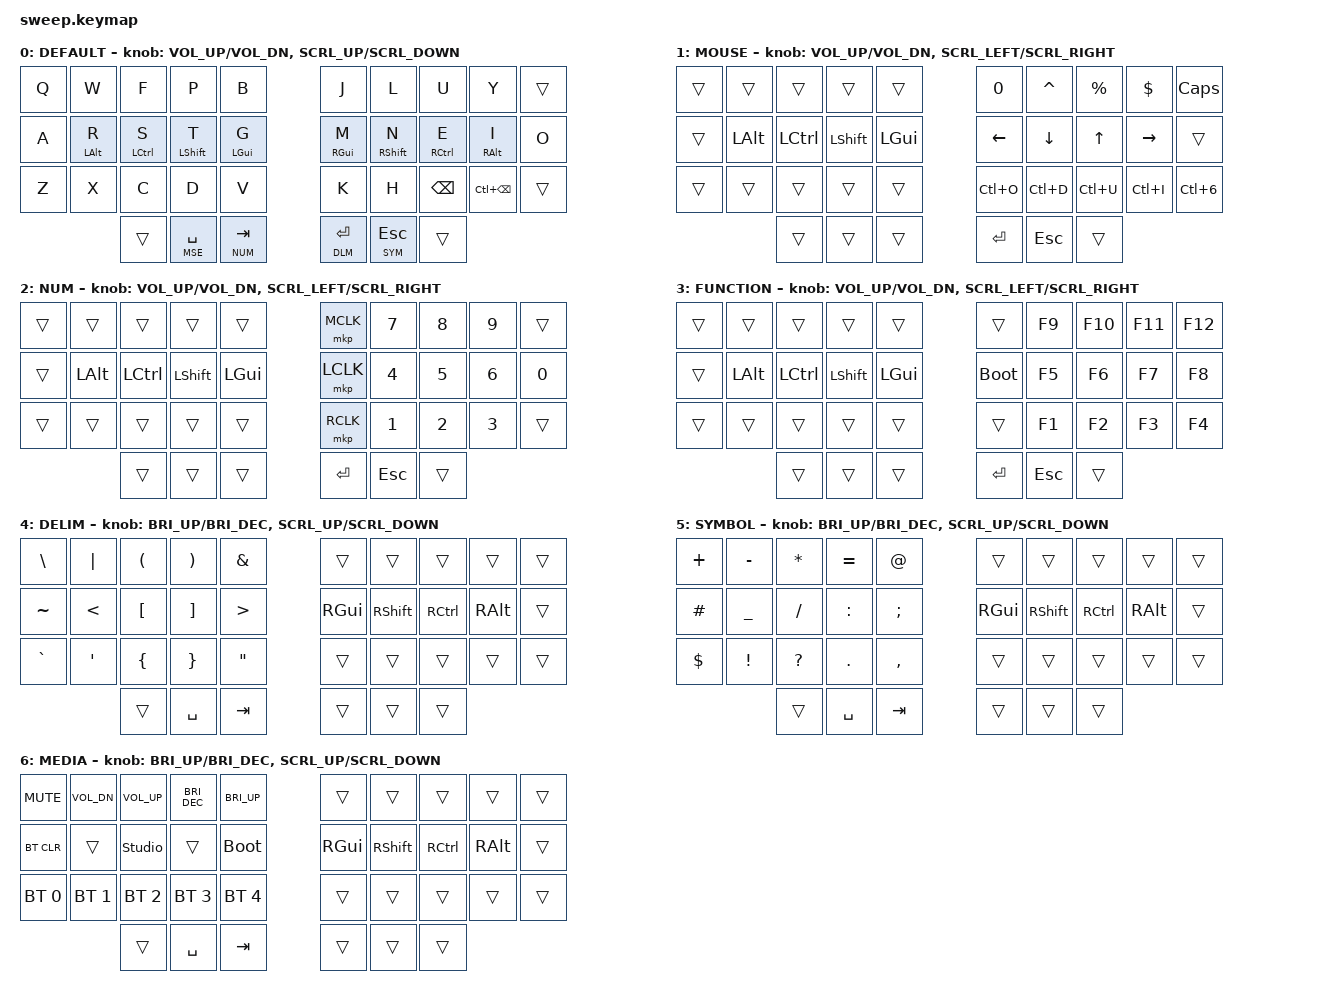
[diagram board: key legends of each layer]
// Copyright (c) 2022 The ZMK Contributors
// SPDX-License-Identifier: MIT
// #include <dt-bindings/zmk/rgb.h>

#define ZMK_POINTING_DEFAULT_MOVE_VAL 2500// 600
#define ZMK_POINTING_DEFAULT_SCRL_VAL 20// 10

#include <behaviors.dtsi>
#include <dt-bindings/zmk/bt.h>
#include <dt-bindings/zmk/keys.h>
#include <dt-bindings/zmk/outputs.h>
#include <dt-bindings/zmk/pointing.h>


#define DEF 0
#define MSE 1
#define NUM 2
#define FUN 3
#define DLM 4
#define SYM 5
#define MED 6

&lt {
  flavor = "hold-preferred";
  tapping-term-ms = <150>;
  quick-tap-ms = <100>;
  require-prior-idle-ms = <0>;
  global-quick-tap;
};

/ {
    behaviors {
        ht: hold_tap {
            label = "hold_tap";
            compatible = "zmk,behavior-hold-tap";
            #binding-cells = <2>;
            flavor = "balanced";
            tapping-term-ms = <150>;
            quick-tap-ms = <150>;
            require-prior-idle-ms = <0>;
            global-quick-tap;
            bindings = <&kp>, <&kp>;
        };
        mmv {
            acceleration-exponent = <1>;// 1
            time-to-max-speed-ms = <300>;// 40
            delay-ms = <0>;// 0
        };
        msc {
            acceleration-exponent = <0>;// 0
            time-to-max-speed-ms = <40>;// 500
            delay-ms = <0>;// 10
        };
    };

    conditional_layers {
        compatible = "zmk,conditional-layers";

        function_layer {
            if-layers = <MSE NUM>;
            then-layer = <FUN>;
        };

        media_layer {
            if-layers = <DLM SYM>;
            then-layer = <MED>;
        };
    };

    keymap {
        compatible = "zmk,keymap";

        default_layer {
            display-name = "DEFAULT";
            bindings = <
            &kp Q   &kp W          &kp F        &kp P         &kp B             &kp J          &kp L         &kp U        &kp Y            &trans
            &kp A   &ht LALT R     &ht LCTRL S  &ht LSHIFT T  &ht LGUI G        &ht RGUI M     &ht RSHIFT N  &ht RCTRL E  &ht RALT I       &kp O
            &kp Z   &kp X          &kp C        &kp D         &kp V             &kp K          &kp H         &kp BSPC     &kp LC(BSPC)     &trans
            &trans  &lt MSE SPACE  &lt NUM TAB                                  &lt DLM ENTER  &lt SYM ESC   &trans
            >;

            sensor-bindings = <&inc_dec_kp C_VOL_UP C_VOL_DN  &inc_dec_kp SCRL_UP SCRL_DOWN>;
        };

        mouse_layer {
            display-name = "MOUSE";
            bindings = <
            &trans  &trans    &trans     &trans      &trans          &kp N0     &kp CARET  &kp PRCNT  &kp DLLR   &kp CAPS
            &trans  &kp LALT  &kp LCTRL  &kp LSHIFT  &kp LGUI        &kp LEFT   &kp DOWN   &kp UP     &kp RIGHT  &trans
            &trans  &trans    &trans     &trans      &trans          &kp LC(O)  &kp LC(D)  &kp LC(U)  &kp LC(I)  &kp LC(N6)
            &trans  &trans    &trans                                 &kp ENTER  &kp ESC    &trans
            >;

            sensor-bindings = <&inc_dec_kp C_VOL_UP C_VOL_DN  &inc_dec_kp SCRL_LEFT SCRL_RIGHT>;
        };

        num_layer {
            display-name = "NUM";
            bindings = <
            &trans  &trans    &trans     &trans      &trans          &mkp MCLK  &kp N7   &kp N8  &kp N9  &trans
            &trans  &kp LALT  &kp LCTRL  &kp LSHIFT  &kp LGUI        &mkp LCLK  &kp N4   &kp N5  &kp N6  &kp N0
            &trans  &trans    &trans     &trans      &trans          &mkp RCLK  &kp N1   &kp N2  &kp N3  &trans
            &trans  &trans    &trans                                 &kp ENTER  &kp ESC  &trans
            >;

            sensor-bindings = <&inc_dec_kp C_VOL_UP C_VOL_DN  &inc_dec_kp SCRL_LEFT SCRL_RIGHT>;
        };

        function_layer {
            display-name = "FUNCTION";
            bindings = <
            &trans  &trans    &trans     &trans      &trans          &trans       &kp F9   &kp F10  &kp F11  &kp F12
            &trans  &kp LALT  &kp LCTRL  &kp LSHIFT  &kp LGUI        &bootloader  &kp F5   &kp F6   &kp F7   &kp F8
            &trans  &trans    &trans     &trans      &trans          &trans       &kp F1   &kp F2   &kp F3   &kp F4
            &trans  &trans    &trans                                 &kp ENTER    &kp ESC  &trans
            >;

            sensor-bindings = <&inc_dec_kp C_VOL_UP C_VOL_DN  &inc_dec_kp SCRL_LEFT SCRL_RIGHT>;
        };

        delim_layer {
            display-name = "DELIM";
            bindings = <
            &kp BSLH   &kp PIPE       &kp LPAR  &kp RPAR  &kp AMPS                &trans    &trans      &trans     &trans    &trans
            &kp TILDE  &kp LESS_THAN  &kp LBKT  &kp RBKT  &kp GREATER_THAN        &kp RGUI  &kp RSHIFT  &kp RCTRL  &kp RALT  &trans
            &kp GRAVE  &kp SQT        &kp LBRC  &kp RBRC  &kp DQT                 &trans    &trans      &trans     &trans    &trans
            &trans     &kp SPACE      &kp TAB                                     &trans    &trans      &trans
            >;

            sensor-bindings = <&inc_dec_kp C_BRI_UP C_BRI_DEC  &inc_dec_kp SCRL_UP SCRL_DOWN>;
        };

        symbol_layer {
            display-name = "SYMBOL";
            bindings = <
            &kp PLUS   &kp MINUS  &kp ASTRK  &kp EQUAL  &kp AT           &trans    &trans       &trans     &trans    &trans
            &kp HASH   &kp UNDER  &kp FSLH   &kp COLON  &kp SEMI         &kp RGUI  &kp RSHIFT   &kp RCTRL  &kp RALT  &trans
            &kp DLLR   &kp EXCL   &kp QMARK  &kp DOT    &kp COMMA        &trans    &trans       &trans     &trans    &trans
            &trans     &kp SPACE  &kp TAB                                &trans    &trans       &trans
            >;

            sensor-bindings = <&inc_dec_kp C_BRI_UP C_BRI_DEC  &inc_dec_kp SCRL_UP SCRL_DOWN>;
        };

        media_layer {
            display-name = "MEDIA";
            bindings = <
            &kp C_MUTE    &kp C_VOL_DN  &kp C_VOL_UP    &kp C_BRI_DEC  &kp C_BRI_UP         &trans    &trans       &trans     &trans    &trans
            &bt BT_CLR    &trans        &studio_unlock  &trans         &bootloader          &kp RGUI  &kp RSHIFT   &kp RCTRL  &kp RALT  &trans
            &bt BT_SEL 0  &bt BT_SEL 1  &bt BT_SEL 2    &bt BT_SEL 3   &bt BT_SEL 4         &trans    &trans       &trans     &trans    &trans
            &trans        &kp SPACE     &kp TAB                                             &trans    &trans       &trans
            >;

            sensor-bindings = <&inc_dec_kp C_BRI_UP C_BRI_DEC  &inc_dec_kp SCRL_UP SCRL_DOWN>;
        };
    };
};
